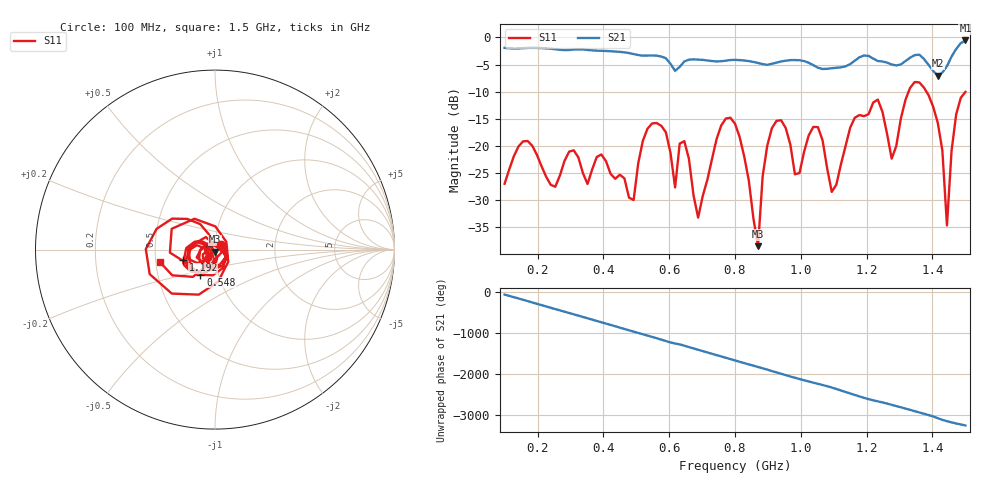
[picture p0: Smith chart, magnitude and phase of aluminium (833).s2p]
! NanoVNA-App
! Date: 2025-09-25 15:01:46
! Start: 100MHz Stop: 1,5GHz Points: 101
! S-Parameter data: F S11 S21 S12 S22
# Hz S RI R 50
!  Frequency  S11_Real  S11_Imag  S21_Real  S21_Imag  S12_Real  S12_Imag  S22_Real  S22_Imag
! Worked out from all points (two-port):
!   101 points, 100 MHz to 1.5 GHz, reference 50 ohm
!   highest |S21| = -0.55 dB at 1.5 GHz (marker M1); lowest = -7.0 dB at 1.416 GHz (marker M2)
!   |S21| within 3 dB of the highest: start of sweep to 577.6 MHz; 1.458 GHz to end of sweep (the widest 2 of 4)
!   lowest |S11| = -38.5 dB at 870 MHz (marker M3), VSWR 1.02, Z = 50 - j1.19 ohm
!   |S11| at or under -10 dB: start of sweep to 1.327 GHz; 1.382 GHz to end of sweep
!   S12 and S22 are empty: the file has one direction only
!   S11 on the Smith chart (normalised r, x): 100 MHz: 1.07, +0.06; 548 MHz: 0.82, -0.24; 1.192 GHz: 0.69, -0.08; 1.5 GHz: 0.53, -0.08
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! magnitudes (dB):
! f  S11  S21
! 100 MHz  -27.0  -1.9
! 156 MHz  -19.1  -2.0
! 338 MHz  -25.0  -2.2
! 492 MHz  -30.0  -3.1
! 548 MHz  -15.8  -3.3
! 576 MHz  -16.3  -3.5
! 618 MHz  -27.6  -6.1
! 646 MHz  -19.1  -4.4
! 688 MHz  -33.2  -4.1
! 800 MHz  -15.9  -4.1
! 870 MHz  -38.5  -4.7
! 912 MHz  -16.7  -4.8
! 982 MHz  -25.2  -4.2
! 1.038 GHz  -16.5  -5.1
! 1.094 GHz  -28.5  -5.7
! 1.192 GHz  -14.5  -3.3
! 1.276 GHz  -22.3  -5.0
! 1.346 GHz  -8.2  -3.3
! 1.416 GHz  -15.7  -7.0
! 1.444 GHz  -34.6  -5.3
! 1.472 GHz  -14.2  -2.1
! 1.5 GHz  -10.0  -0.5
